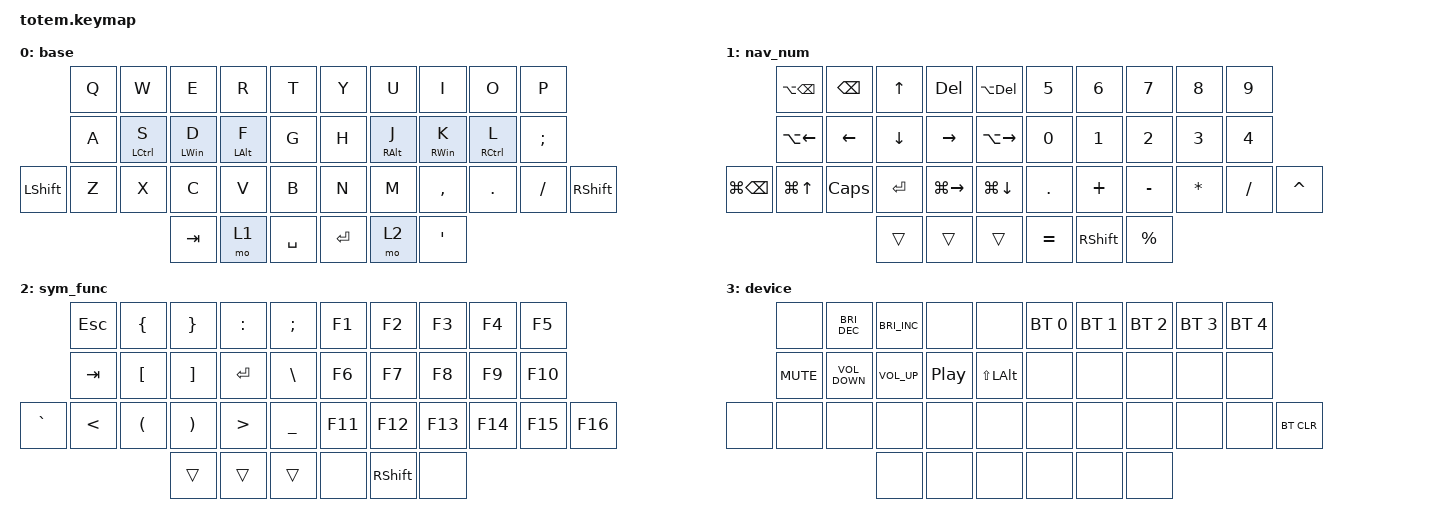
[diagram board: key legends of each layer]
//
//                                                        ▀▀▀▀▀     ▀▀▀▀▀          ▀▀█▀▀
//                                                        ▄▀▀▀▄  ▄  ▄▀▀▀▄  ▄  ▄▀▀▀▄  █  ▄▀▀▀▄
//                                                        █   █  █  █   █  █  █   █  █  █   █
//                                                         ▀▀▀   █   ▀▀▀   █   ▀▀▀   ▀   ▀▀▀
//                                                               █      ▄▄▄█▄▄▄    █   █  
//                                                               ▀      █  █  █     █▄█
//                                                             ▀▀▀▀▀    █  █  █      ▀
//                                                                      ▀  ▀  ▀
//
// ▄▄▄▄▄▄▄▄▄▄▄▄▄▄▄▄▄▄▄▄▄▄▄▄▄▄▄▄▄▄▄▄▄▄▄▄▄▄▄▄▄▄▄▄▄▄▄▄▄▄▄▄▄▄▄▄▄▄▄▄▄▄▄▄▄▄▄▄▄▄▄▄▄▄▄▄▄▄▄▄▄▄▄▄▄▄▄▄▄▄▄▄▄▄▄▄▄▄▄▄▄▄▄▄▄▄▄▄▄▄▄▄▄▄▄▄▄▄▄▄▄▄▄▄▄▄▄▄▄▄▄▄▄▄▄▄▄▄▄▄▄▄▄▄▄▄▄▄▄

#include <behaviors.dtsi>
#include <dt-bindings/zmk/bt.h>
#include <dt-bindings/zmk/keys.h>

&mt {
    flavor = "balanced";
    tapping-term-ms = <300>;
    require-prior-idle-ms = <200>;
};

/ {
    combos {
        compatible = "zmk,combos";

        ThirdLayer {
            bindings = <&mo 3>;
            key-positions = <33 36>;
        };
    };

    keymap {
        compatible = "zmk,keymap";

        base {
            bindings = <
                &kp Q  &kp W        &kp E           &kp R           &kp T        &kp Y      &kp U            &kp I       &kp O        &kp P
                &kp A  &mt LCTRL S  &mt LEFT_WIN D  &mt LEFT_ALT F  &kp G        &kp H      &mt RIGHT_ALT J  &mt RWIN K  &mt RCTRL L  &kp SEMI
&kp LEFT_SHIFT  &kp Z  &kp X        &kp C           &kp V           &kp B        &kp N      &kp M            &kp COMMA   &kp DOT      &kp FSLH  &kp RSHIFT
                                    &kp TAB         &mo 1           &kp SPACE    &kp ENTER  &mo 2            &kp APOS
            >;
        };

        nav_num {
            bindings = <
                   &kp LA(BACKSPACE)   &kp BACKSPACE  &kp UP     &kp DELETE     &kp LA(DELETE)        &kp N5      &kp N6           &kp N7       &kp N8    &kp N9
                   &kp LA(LEFT_ARROW)  &kp LEFT       &kp DOWN   &kp RIGHT      &kp LA(RIGHT)         &kp N0      &kp N1           &kp N2       &kp N3    &kp N4
&kp LG(BACKSPACE)  &kp LG(UP_ARROW)    &kp CAPS       &kp ENTER  &kp LG(RIGHT)  &kp LG(DOWN_ARROW)    &kp PERIOD  &kp PLUS         &kp MINUS    &kp STAR  &kp FSLH  &kp CARET
                                                      &trans     &trans         &trans                &kp EQUAL   &kp RIGHT_SHIFT  &kp PERCENT
            >;
        };

        sym_func {
            bindings = <
           &kp ESC        &kp LEFT_BRACE        &kp RIGHT_BRACE        &kp COLON         &kp SEMI          &kp F1   &kp F2           &kp F3   &kp F4   &kp F5
           &kp TAB        &kp LBKT              &kp RBKT               &kp ENTER         &kp BSLH          &kp F6   &kp F7           &kp F8   &kp F9   &kp F10
&kp GRAVE  &kp LESS_THAN  &kp LEFT_PARENTHESIS  &kp RIGHT_PARENTHESIS  &kp GREATER_THAN  &kp UNDERSCORE    &kp F11  &kp F12          &kp F13  &kp F14  &kp F15  &kp F16
                                                &trans                 &trans            &trans            &none    &kp RIGHT_SHIFT  &none
            >;
        };

        device {
            bindings = <
       &none       &kp C_BRIGHTNESS_DEC  &kp C_BRIGHTNESS_INC  &none             &none           &bt BT_SEL 0  &bt BT_SEL 1  &bt BT_SEL 2  &bt BT_SEL 3  &bt BT_SEL 4
       &kp K_MUTE  &kp C_VOLUME_DOWN     &kp C_VOLUME_UP       &kp C_PLAY_PAUSE  &kp LS(LALT)    &none         &none         &none         &none         &none
&none  &none       &none                 &none                 &none             &none           &none         &none         &none         &none         &none         &bt BT_CLR
                                         &none                 &none             &none           &none         &none         &none
            >;
        };

        extra1 { status = "reserved"; };

        extra2 { status = "reserved"; };

        extra3 { status = "reserved"; };
    };

    conditional_layers { compatible = "zmk,conditional-layers"; };
};
